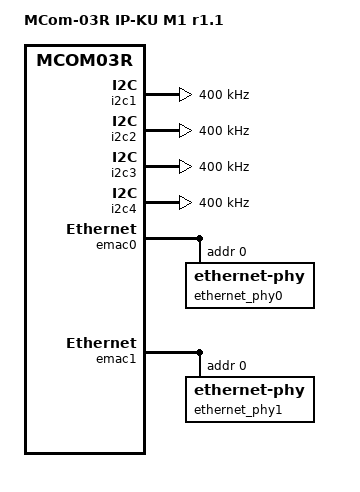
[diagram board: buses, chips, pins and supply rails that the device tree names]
// SPDX-License-Identifier: GPL-2.0+
// Copyright 2026 RnD Center "ELVEES", JSC

/dts-v1/;

#include "mcom03r-ip-ku-m1-r1.0.dts"

/ {
	model = "MCom-03R IP-KU M1 r1.1";
	compatible = "elvees,mcom03r-ipku-m1-r1.1",
		     "elvees,mcom03r-ipku-m1",
		     "elvees,mcom03r";
};

&i2c1_default_cfg {
	/delete-node/ scl-sda-pins;
	scl-sda-pins {
		input-enable;
	};
};

&i2c2_default_cfg {
	/delete-node/ scl-sda-pins;
	scl-sda-pins {
		input-enable;
	};
};

&i2c3_default_cfg {
	/delete-node/ scl-sda-pins;
	scl-sda-pins {
		input-enable;
	};
};

&i2c1 {
	clock-frequency = <400000>;
};

&i2c2 {
	clock-frequency = <400000>;
};

&i2c3 {
	clock-frequency = <400000>;
};

&i2c4 {
	clock-frequency = <400000>;
};

&emac0 {
	/delete-node/ ethernet-phy@0;
	ethernet_phy0: ethernet-phy@0 {
		reg = <0x0>;
		tx-internal-delay-ps = <2000>;
		/* The same as for mcom03r-ip-ku-m1-r1.0.dts */
		max-speed = <100>;
	};
};

&emac1 {
	/delete-node/ ethernet-phy@0;
	ethernet_phy1: ethernet-phy@0 {
		reg = <0x0>;
		tx-internal-delay-ps = <2000>;
		/* The same as for mcom03r-ip-ku-m1-r1.0.dts */
		max-speed = <100>;
	};
};
